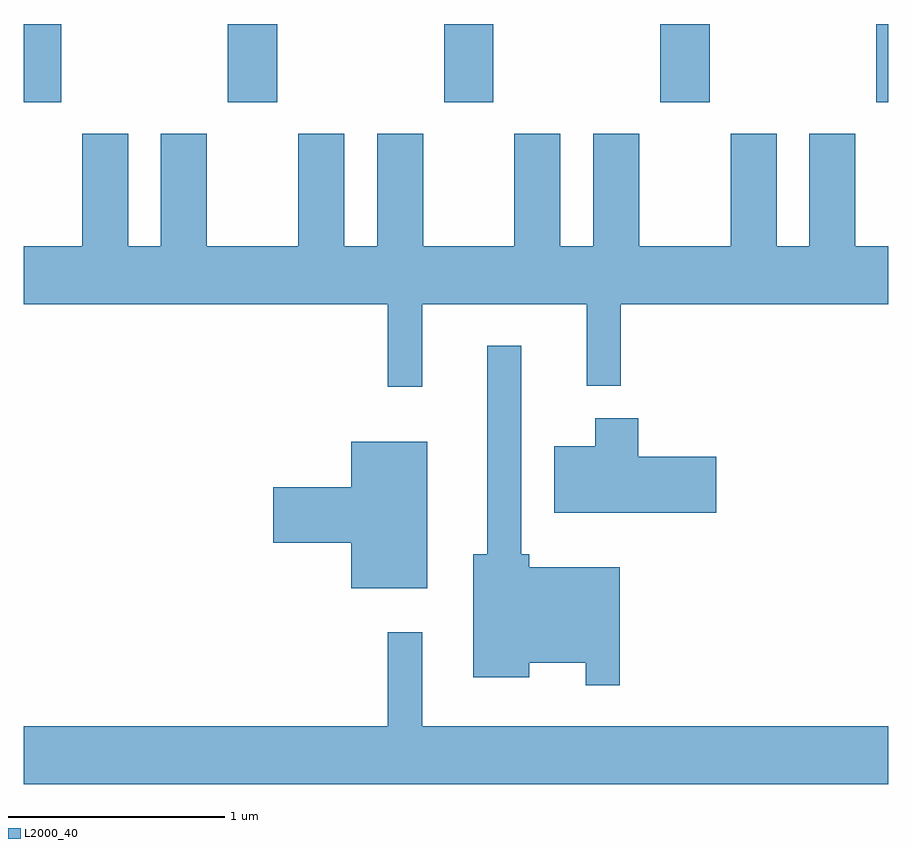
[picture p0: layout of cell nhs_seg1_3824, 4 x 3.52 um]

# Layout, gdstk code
import gdstk
lib = gdstk.Library(unit=1e-6, precision=1e-09)
def R(c, l, rs):  # rectangles x0, y0, x1, y1
    for r in rs: c.add(gdstk.rectangle(r[:2], r[2:], *l))
def A(c, l, x, y, w, h, nx, ny, dx, dy):  # array of equal rectangles
    R(c, l, [(x+i*dx, y+j*dy, x+i*dx+w, y+j*dy+h) for i in range(nx) for j in range(ny)])
def P(c, l, *ps):  # polygons
    for p in ps: c.add(gdstk.Polygon(p, *l))
L2000_40 = (2000, 40)

nhs_seg1_3824 = lib.new_cell('nhs_seg1_3824')
A(nhs_seg1_3824, L2000_40, 300.556, 949.351, 0.228, 0.361, 3, 1, 1, 0)
R(nhs_seg1_3824, L2000_40, [(299.611,949.351,299.784,949.712), (303.556,949.351,303.611,949.712)])
P(nhs_seg1_3824, L2000_40, [(301.296,948.033),(301.454,948.033),(301.454,948.416),(302.216,948.416),(302.216,948.038),(302.374,948.038),(302.374,948.416),(303.611,948.416),(303.611,948.684),(303.459,948.684),(303.459,949.204),(303.246,949.204),(303.246,948.684),(303.094,948.684),(303.094,949.204),(302.881,949.204),(302.881,948.684),(302.459,948.684),(302.459,949.204),(302.246,949.204),(302.246,948.684),(302.094,948.684),(302.094,949.204),(301.881,949.204),(301.881,948.684),(301.459,948.684),(301.459,949.204),(301.246,949.204),(301.246,948.684),(301.094,948.684),(301.094,949.204),(300.881,949.204),(300.881,948.684),(300.459,948.684),(300.459,949.204),(300.246,949.204),(300.246,948.684),(300.094,948.684),(300.094,949.204),(299.881,949.204),(299.881,948.684),(299.611,948.684),(299.611,948.416),(301.296,948.416)],
  [(302.369,947.199),(301.949,947.199),(301.949,947.259),(301.914,947.259),(301.914,948.223),(301.756,948.223),(301.756,947.259),(301.691,947.259),(301.691,946.691),(301.949,946.691),(301.949,946.756),(302.211,946.756),(302.211,946.653),(302.369,946.653)],
  [(302.814,947.709),(302.454,947.709),(302.454,947.889),(302.256,947.889),(302.256,947.759),(302.066,947.759),(302.066,947.451),(302.814,947.451)],
  [(301.479,947.779),(301.126,947.779),(301.126,947.569),(300.766,947.569),(300.766,947.311),(301.126,947.311),(301.126,947.101),(301.479,947.101)],
  [(303.611,946.464),(301.454,946.464),(301.454,946.898),(301.296,946.898),(301.296,946.464),(299.611,946.464),(299.611,946.196),(303.611,946.196)])

lib.write_gds('nhs_seg1_3824.gds')
